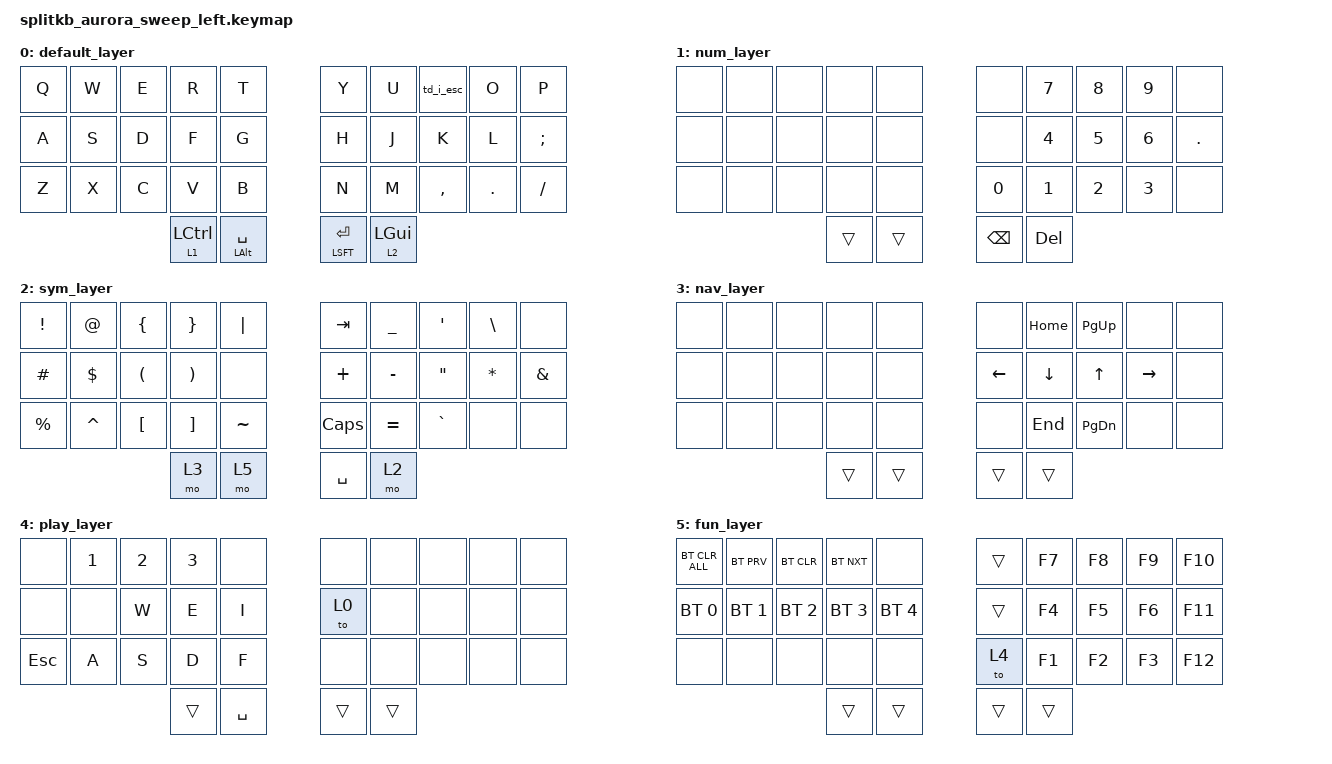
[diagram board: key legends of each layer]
/*
 * Copyright (c) 2022 The ZMK Contributors
 *
 * SPDX-License-Identifier: MIT
 */

#include <behaviors.dtsi>
#include <dt-bindings/zmk/keys.h>
#include <dt-bindings/zmk/bt.h>

//&kscan {
//        row-gpios
//            = <&pro_micro 14 GPIO_ACTIVE_HIGH>
//            , <&pro_micro 16 GPIO_ACTIVE_HIGH>
//            , <&pro_micro 18 GPIO_ACTIVE_HIGH>
//            , <&pro_micro 15 GPIO_ACTIVE_HIGH>
//            ;
//};

&mt {
  //  flavor = "tap-preferred";
   // tapping_term_ms = <200>;
};

&sk {
  quick-release;
};

/ {
        
    behaviors {
        // tap once i = i, tap twice i = esc
        prior_idle_td_i_esc: tap_dance_i_esc {
            compatible = "zmk,behavior-tap-dance";
            #binding-cells = <0>;
            tapping-term-ms = <200>;
            bindings = <&kp I>, <&kp ESC>;
        };

        // allow to instan print capital i on shift tap-dance bahavior
        td_i_esc: shift_td_i_esc {
            compatible = "zmk,behavior-mod-morph";
            #binding-cells = <0>;
            bindings = <&prior_idle_td_i_esc>, <&kp LS(I)>;
            mods = <(MOD_LSFT|MOD_RSFT)>;
        };

        // layer on hold, stiky mod on tap
        lm: layer_modifier {
            compatible = "zmk,behavior-hold-tap";
            #binding-cells = <2>;
            flavor = "hold-preferred";
            tapping-term-ms = <200>;
            quick-tap-ms = <200>;
            bindings = <&mo>, <&sk>;
        };
    };

    keymap {
        compatible = "zmk,keymap";

            default_layer {
              bindings = <
                &kp Q &kp W &kp E &kp R       &kp T               &kp Y        &kp U &td_i_esc &kp O   &kp P
                &kp A &kp S &kp D &kp F       &kp G               &kp H        &kp J &kp K     &kp L   &kp SEMI
                &kp Z &kp X &kp C &kp V       &kp B               &kp N        &kp M &kp CMMA  &kp DOT &kp FSLH
                                  &lm 1 LCTRL &mt LALT SPC        &mt LSFT RET &lm 2 LGUI
              >;
            };

            num_layer {
              bindings = <
                &none &none &none &none  &none     &none    &kp N7 &kp N8 &kp N9 &none
                &none &none &none &none  &none     &none    &kp N4 &kp N5 &kp N6 &kp DOT
                &none &none &none &none  &none     &kp N0   &kp N1 &kp N2 &kp N3 &none
                                  &trans &trans    &kp BSPC &kp DEL
              >;
            };
    
            sym_layer {
              bindings = <
                &kp EXCL   &kp AT    &kp LBRC &kp RBRC &kp PIPE         &kp TAB   &kp UNDER &kp SQT   &kp BSLH &none
                &kp HASH   &kp DLLR  &kp LPAR &kp RPAR &none            &kp PLUS  &kp MINUS &kp DQT   &kp STAR &kp AMPS
                &kp PRCNT  &kp CARET &kp LBKT &kp RBKT &kp TILDE        &kp CAPS  &kp EQUAL &kp GRAVE &none    &none
                                              &mo 3    &mo 5            &kp SPC   &mo 2
              >;
            };
            nav_layer {
              bindings = <
                &none &none &none &none &none     &none    &kp HOME &kp PG_UP &none     &none
                &none &none &none &none &none     &kp LEFT &kp DOWN &kp UP    &kp RIGHT &none
                &none &none &none &none &none     &none    &kp END  &kp PG_DN &none     &none
                                  &trans &trans   &trans   &trans
              >;
            };
            play_layer {
              bindings = <
                &none   &kp N1 &kp N2 &kp N3 &none     &none  &none &none &none &none
                &none   &none  &kp W  &kp E  &kp I     &to 0  &none &none &none &none
                &kp ESC &kp A  &kp S  &kp D  &kp F     &none  &none &none &none &none
                                      &trans &kp SPC   &trans &trans
              >;
            };
            fun_layer {
              bindings = <
                &bt BT_CLR_ALL &bt BT_PRV   &bt BT_CLR   &bt BT_NXT   &none                &trans &kp F7 &kp F8 &kp F9 &kp F10
                &bt BT_SEL 0   &bt BT_SEL 1 &bt BT_SEL 2 &bt BT_SEL 3 &bt BT_SEL 4         &trans &kp F4 &kp F5 &kp F6 &kp F11
                &none          &none        &none        &none        &none                &to 4  &kp F1 &kp F2 &kp F3 &kp F12
                                                         &trans       &trans               &trans &trans
              >;
            };

    };
};
